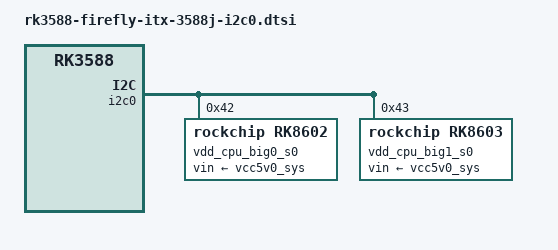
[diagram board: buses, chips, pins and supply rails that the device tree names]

#include <dt-bindings/usb/pd.h>

&i2c0 {
    status = "okay";
    pinctrl-names = "default";
    pinctrl-0 = <&i2c0m2_xfer>;

    vdd_cpu_big0_s0: vdd_cpu_big0_mem_s0: regulator@42 {
        compatible = "rockchip,rk8602";
        reg = <0x42>;
        vin-supply = <&vcc5v0_sys>;
        regulator-name = "vdd_cpu_big0_s0";
        regulator-min-microvolt = <550000>;
        regulator-max-microvolt = <1050000>;
        regulator-ramp-delay = <2300>;
        fcs,suspend-voltage-selector = <1>;
        regulator-boot-on;
        regulator-always-on;
        regulator-state-mem {
            regulator-off-in-suspend;
        };
    };

    vdd_cpu_big1_s0: vdd_cpu_big1_mem_s0: regulator@43 {
		compatible = "rockchip,rk8603", "rockchip,rk8602";
        reg = <0x43>;
        regulator-name = "vdd_cpu_big1_s0";
        regulator-min-microvolt = <550000>;
        regulator-max-microvolt = <1050000>;
        regulator-always-on;
        regulator-boot-on;
        regulator-ramp-delay = <2300>;
        vin-supply = <&vcc5v0_sys>;
        fcs,suspend-voltage-selector = <1>;

        regulator-state-mem {
            regulator-off-in-suspend;
        };

    };


};
